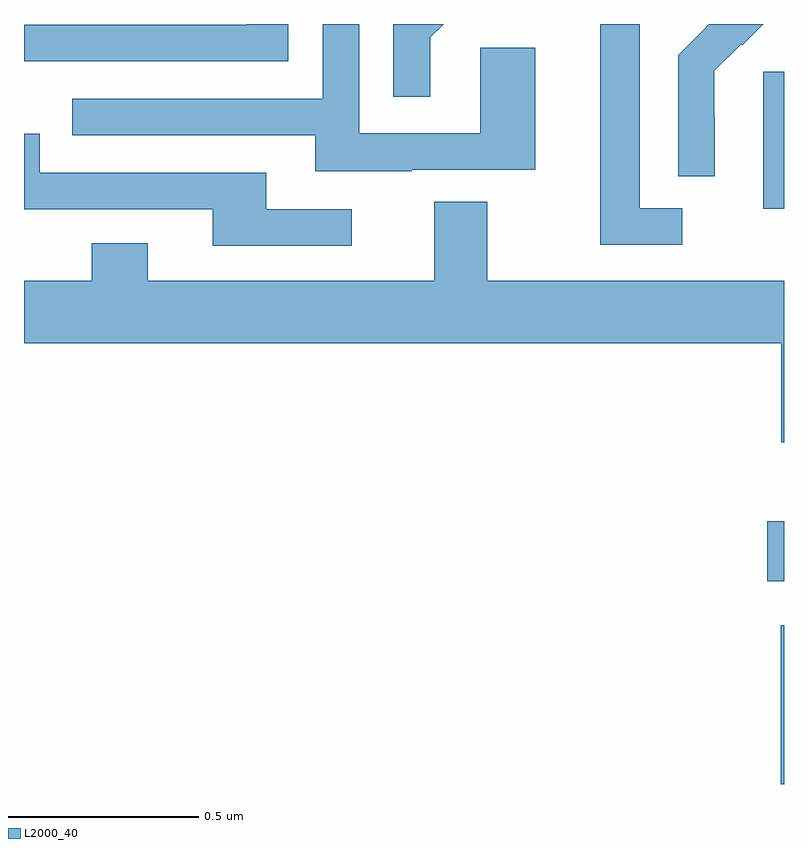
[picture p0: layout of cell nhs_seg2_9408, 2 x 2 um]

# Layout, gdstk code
import gdstk
lib = gdstk.Library(unit=1e-6, precision=1e-09)
def R(c, l, rs):  # rectangles x0, y0, x1, y1
    for r in rs: c.add(gdstk.rectangle(r[:2], r[2:], *l))
def P(c, l, *ps):  # polygons
    for p in ps: c.add(gdstk.Polygon(p, *l))
L2000_40 = (2000, 40)

nhs_seg2_9408 = lib.new_cell('nhs_seg2_9408')
R(nhs_seg2_9408, L2000_40, [(229.991,655.8,230,656.218), (229.956,656.333,230,656.491), (229.946,657.314,230,657.675)])
P(nhs_seg2_9408, L2000_40, [(229.069,657.765),(229.104,657.8),(228.972,657.8),(228.972,657.609),(229.069,657.609)],
  [(229.732,657.315),(229.621,657.315),(229.621,657.8),(229.517,657.8),(229.517,657.219),(229.732,657.219)],
  [(228.696,657.8),(228.587,657.8),(228.587,657.798),(228,657.798),(228,657.702),(228.696,657.702)],
  [(229.818,657.554),(229.817,657.554),(229.817,657.677),(229.887,657.747),(229.89,657.744),(229.946,657.8),(229.802,657.8),(229.794,657.792),(229.795,657.791),(229.722,657.718),(229.722,657.4),(229.818,657.4)],
  [(229.021,657.417),(229.345,657.417),(229.345,657.737),(229.2,657.737),(229.2,657.513),(228.882,657.513),(228.882,657.8),(228.786,657.8),(228.786,657.603),(228.127,657.603),(228.127,657.507),(228.767,657.507),(228.767,657.413),(229.021,657.413)],
  [(228.862,657.312),(228.637,657.312),(228.637,657.408),(228.042,657.408),(228.042,657.511),(228,657.511),(228,657.312),(228.497,657.312),(228.497,657.216),(228.862,657.216)],
  [(230,657.124),(229.219,657.124),(229.219,657.332),(229.079,657.332),(229.079,657.124),(228.325,657.124),(228.325,657.223),(228.178,657.223),(228.178,657.124),(228,657.124),(228,656.96),(229.993,656.96),(229.993,656.7),(230,656.7)])

lib.write_gds('nhs_seg2_9408.gds')
